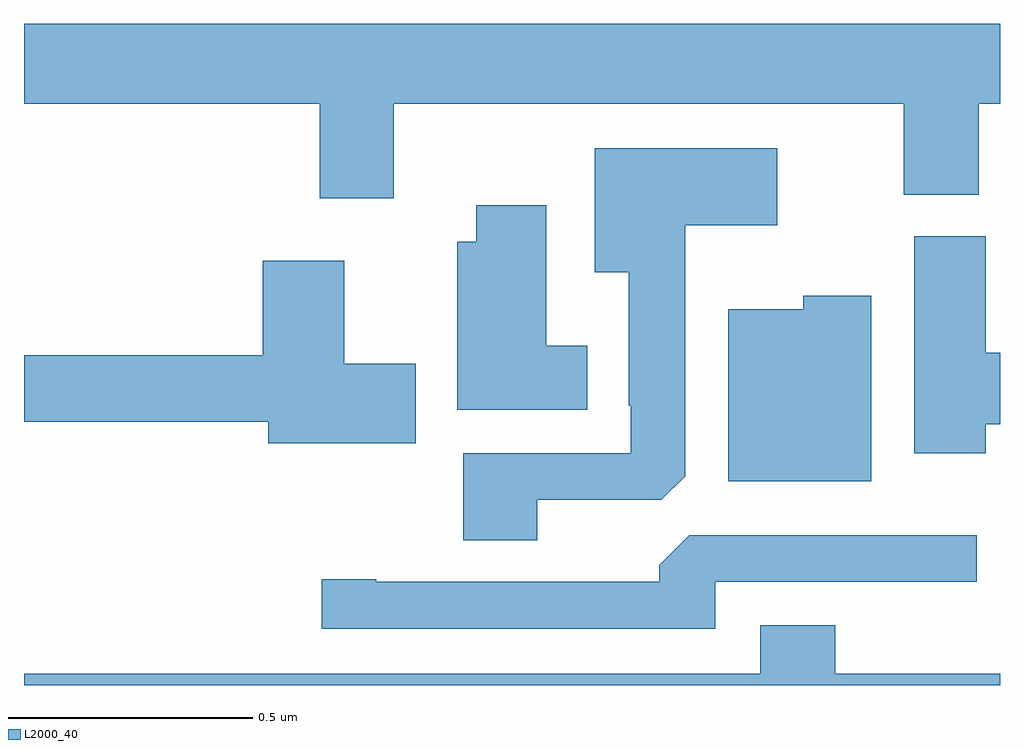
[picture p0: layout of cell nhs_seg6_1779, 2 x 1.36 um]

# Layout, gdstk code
import gdstk
lib = gdstk.Library(unit=1e-6, precision=1e-09)
def P(c, l, *ps):  # polygons
    for p in ps: c.add(gdstk.Polygon(p, *l))
L2000_40 = (2000, 40)

nhs_seg6_1779 = lib.new_cell('nhs_seg6_1779')
P(nhs_seg6_1779, L2000_40, [(134.758,924.692),(135.803,924.692),(135.803,924.505),(135.956,924.505),(135.956,924.692),(136,924.692),(136,924.856),(134,924.856),(134,924.692),(134.606,924.692),(134.606,924.498),(134.758,924.498)],
  [(135.052,923.88),(135.306,923.88),(135.355,923.929),(135.355,924.443),(135.544,924.443),(135.544,924.601),(135.17,924.601),(135.17,924.347),(135.239,924.347),(135.239,924.073),(135.243,924.073),(135.243,923.976),(134.9,923.976),(134.9,923.797),(135.052,923.797)],
  [(135.154,924.196),(135.07,924.196),(135.07,924.484),(134.927,924.484),(134.927,924.409),(134.888,924.409),(134.888,924.065),(135.154,924.065)],
  [(135.971,924.035),(136,924.035),(136,924.182),(135.971,924.182),(135.971,924.42),(135.824,924.42),(135.824,923.976),(135.971,923.976)],
  [(134.803,924.159),(134.656,924.159),(134.656,924.37),(134.489,924.37),(134.489,924.176),(134,924.176),(134,924.04),(134.501,924.04),(134.501,923.996),(134.803,923.996)],
  [(135.736,924.298),(135.597,924.298),(135.597,924.271),(135.443,924.271),(135.443,923.918),(135.736,923.918)],
  [(135.417,923.712),(135.952,923.712),(135.952,923.808),(135.363,923.808),(135.302,923.746),(135.302,923.712),(134.722,923.712),(134.722,923.717),(134.61,923.717),(134.61,923.616),(135.417,923.616)],
  [(134,923.5),(136,923.5),(136,923.524),(135.662,923.524),(135.662,923.623),(135.509,923.623),(135.509,923.524),(134,923.524)])

lib.write_gds('nhs_seg6_1779.gds')
